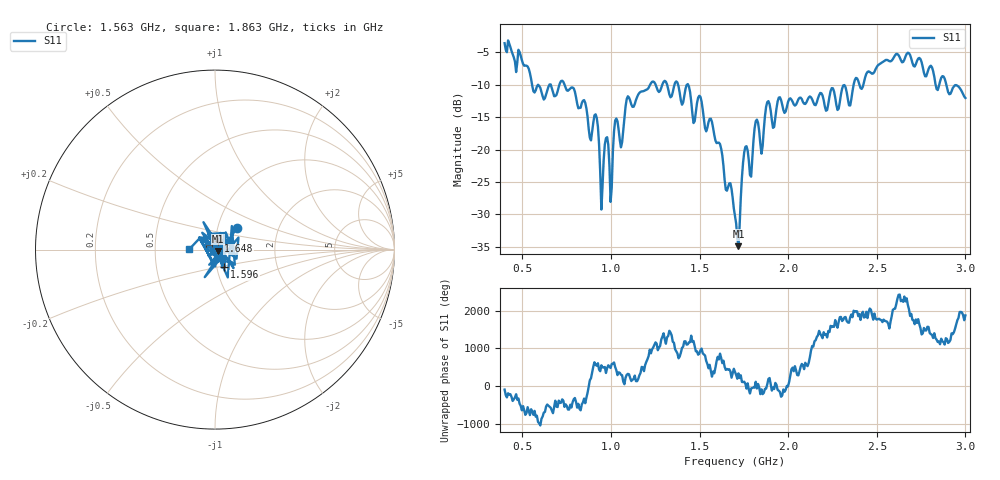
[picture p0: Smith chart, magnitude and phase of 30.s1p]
!Created with skrf (http://scikit-rf.org).
# Hz S RI R 50.0
!freq ReS11 ImS11
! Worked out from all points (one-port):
!   401 points, 400 MHz to 3 GHz, reference 50 ohm
!   lowest |S11| = -34.9 dB at 1.72 GHz (marker M1), VSWR 1.04, Z = 51.6 - j0.782 ohm
!   |S11| at or under -10 dB: 738.4 MHz to 1.221 GHz (482.2 MHz wide, 49.2 % of centre); 1.436 GHz to 2.369 GHz (933.5 MHz wide, 49.1 % of centre); 2.892 GHz to end of sweep (the widest 3 of 11)
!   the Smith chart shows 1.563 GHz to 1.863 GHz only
!   S11 on the Smith chart (normalised r, x): 1.563 GHz: 1.24, +0.31; 1.596 GHz: 1.09, -0.22; 1.648 GHz: 1.03, +0.09; 1.863 GHz: 0.75, +0.00
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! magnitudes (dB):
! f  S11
! 400 MHz  -3.6
! 621 MHz  -12.3
! 725 MHz  -9.4
! 848.5 MHz  -12.4
! 881 MHz  -18.2
! 913.5 MHz  -14.6
! 946 MHz  -29.3
! 972 MHz  -18.2
! 998 MHz  -28.1
! 1.024 GHz  -15.5
! 1.05 GHz  -18.5
! 1.095 GHz  -11.8
! 1.375 GHz  -9.6
! 1.563 GHz  -15.2
! 1.596 GHz  -19.0
! 1.648 GHz  -26.2
! 1.7 GHz  -30.3
! 1.72 GHz  -34.9
! 1.758 GHz  -19.6
! 1.784 GHz  -23.9
! 1.817 GHz  -15.6
! 1.863 GHz  -16.9
! 1.882 GHz  -12.7
! 1.915 GHz  -16.6
! 2.025 GHz  -12.6
! 2.35 GHz  -13.2
! 2.675 GHz  -5.0
! 3 GHz  -12.0
